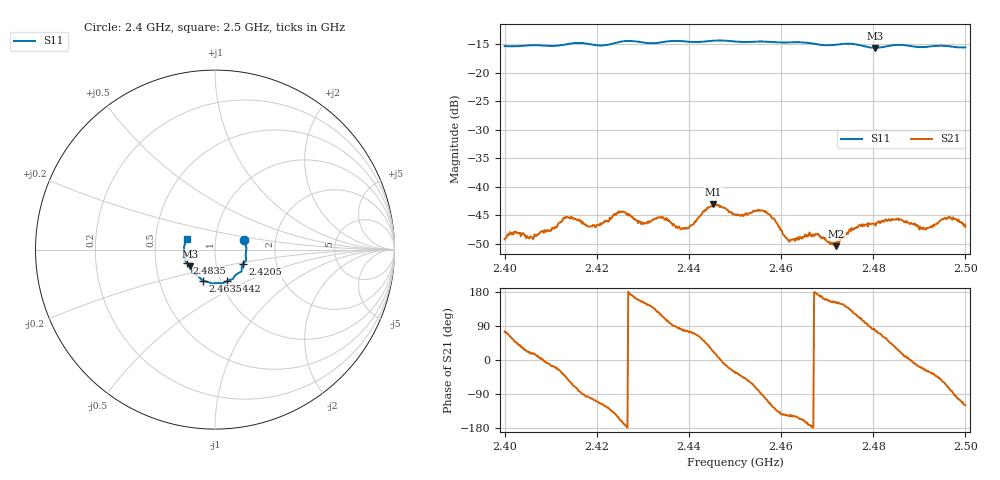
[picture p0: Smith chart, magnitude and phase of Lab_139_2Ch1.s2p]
# Hz S RI R 50
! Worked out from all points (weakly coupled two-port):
!   601 points, 2.4 GHz to 2.5 GHz, reference 50 ohm
!   highest |S21| = -43.02 dB at 2.4453 GHz (marker M1); lowest = -50.4 dB at 2.472 GHz (marker M2)
!   lowest |S11| = -15.6 dB at 2.4803 GHz (marker M3), VSWR 1.40, Z = 37.4 - j7.21 ohm
!   |S11| at or under -10 dB: start of sweep to end of sweep
!   S12 and S22 are empty: the file has one direction only
!   S11 on the Smith chart (normalised r, x): 2.4 GHz: 1.38, +0.15; 2.4205 GHz: 1.35, -0.22; 2.442 GHz: 1.08, -0.39; 2.4635 GHz: 0.83, -0.30; 2.4835 GHz: 0.72, -0.11; 2.5 GHz: 0.72, +0.09
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2.4e9  0.1638 0.0519  0.000864 0.00335  0 0  0 0
2.406333e9  0.175 0.00842  0.00342 0.00107  0 0  0 0
2.413333e9  0.1724 -0.0449  0.00381 -0.00393  0 0  0 0
2.416667e9  0.1721 -0.0624  0.00019 -0.00498  0 0  0 0
2.4205e9  0.1549 -0.0797  -0.00177 -0.00431  0 0  0 0
2.425167e9  0.1487 -0.1143  -0.00567 -0.00216  0 0  0 0
2.430167e9  0.1303 -0.1309  -0.00411 0.00229  0 0  0 0
2.433333e9  0.1092 -0.148  -0.00325 0.0043  0 0  0 0
2.438667e9  0.0915 -0.1665  0.00089 0.00426  0 0  0 0
2.442e9  0.069 -0.1736  0.00234 0.0048  0 0  0 0
2.445333e9  0.0499 -0.1852  0.00657 0.0026  0 0  0 0
2.45e9  0.0264 -0.1868  0.00479 -0.00318  0 0  0 0
2.456167e9  -0.0161 -0.1877  -0.000592 -0.00612  0 0  0 0
2.461333e9  -0.0526 -0.1772  -0.0029 -0.00194  0 0  0 0
2.4635e9  -0.0656 -0.174  -0.00314 -0.00173  0 0  0 0
2.466667e9  -0.0776 -0.1641  -0.00364 -0.000359  0 0  0 0
2.472e9  -0.1113 -0.1375  -0.00267 0.0014  0 0  0 0
2.480333e9  -0.1369 -0.0939  0.000927 0.00463  0 0  0 0
2.483333e9  -0.1554 -0.0747  0.00339 0.00395  0 0  0 0
2.4835e9  -0.1565 -0.0742  0.00355 0.00378  0 0  0 0
2.4965e9  -0.1695 0.0259  0.00138 -0.0053  0 0  0 0
2.5e9  -0.1567 0.0594  -0.00218 -0.0039  0 0  0 0
